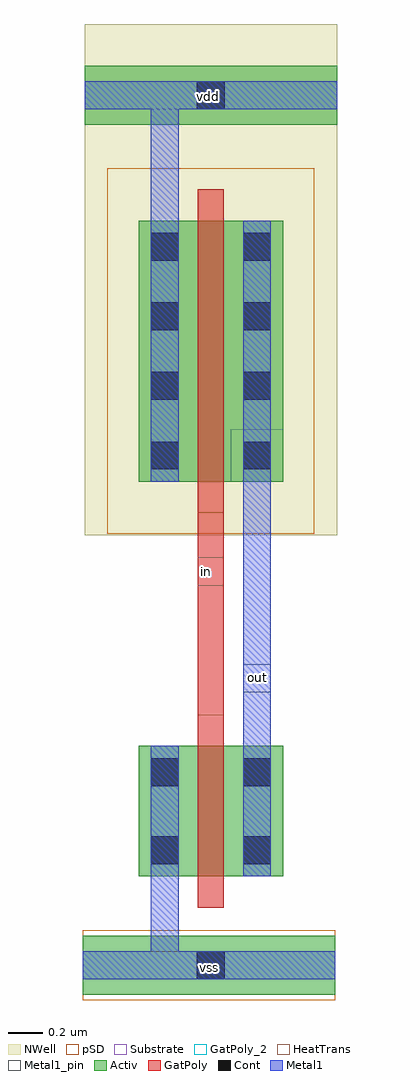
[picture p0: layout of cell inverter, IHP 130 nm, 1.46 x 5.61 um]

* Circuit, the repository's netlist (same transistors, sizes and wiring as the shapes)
* Extracted by KLayout with SG13G2 LVS runset on : 21/03/2026 16:57

.SUBCKT inverter
M$1 \$1 \$4 \$2 \$1 sg13_lv_nmos L=0.15u W=0.75u AS=0.255p AD=0.255p PS=2.18u
+ PD=2.18u
M$2 \$3 \$4 \$2 \$3 sg13_lv_pmos L=0.15u W=1.5u AS=0.51p AD=0.51p PS=3.68u
+ PD=3.68u
.ENDS inverter

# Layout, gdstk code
import gdstk
lib = gdstk.Library(unit=1e-6, precision=5e-09)
def R(c, l, rs):  # rectangles x0, y0, x1, y1
    for r in rs: c.add(gdstk.rectangle(r[:2], r[2:], *l))
def A(c, l, x, y, w, h, nx, ny, dx, dy):  # array of equal rectangles
    R(c, l, [(x+i*dx, y+j*dy, x+i*dx+w, y+j*dy+h) for i in range(nx) for j in range(ny)])
Activ = (1, 0)
GatPoly = (5, 0)
GatPoly_2 = (5, 2)
Cont = (6, 0)
Metal1 = (8, 0)
Metal1_pin = (8, 2)
pSD = (14, 0)
NWell = (31, 0)
Substrate = (40, 0)
HeatTrans = (51, 0)

m1_cont1_pmos = lib.new_cell('M1_Cont1_PMOS')
R(m1_cont1_pmos, Activ, [(-0.72,-0.175,0.73,0.165)])
R(m1_cont1_pmos, Cont, [(-0.075,-0.085,0.085,0.075)])
R(m1_cont1_pmos, Metal1, [(-0.72,-0.085,0.73,0.075)])
R(m1_cont1_pmos, Metal1_pin, [(-0.72,-0.085,0.73,0.075)])
R(m1_cont1_pmos, NWell, [(-0.72,-0.415,0.73,0.405)])

m1_bulkcont1_pmos = lib.new_cell('M1_BulkCont1_PMOS')
r = gdstk.Reference(m1_cont1_pmos, (-0.015,-0.015)); r.repetition = gdstk.Repetition(1, 1, v1=(0,0), v2=(0,0)); m1_bulkcont1_pmos.add(r)

m1_cont1_nmos = lib.new_cell('M1_Cont1_NMOS')
R(m1_cont1_nmos, Activ, [(-0.725,-0.175,0.725,0.165)])
R(m1_cont1_nmos, Cont, [(-0.07,-0.085,0.09,0.075)])
R(m1_cont1_nmos, Metal1, [(-0.725,-0.085,0.725,0.075)])
R(m1_cont1_nmos, Metal1_pin, [(-0.725,-0.085,0.725,0.075)])
R(m1_cont1_nmos, pSD, [(-0.725,-0.205,0.725,0.195)])

m1_bulkcont1_nmos = lib.new_cell('M1_BulkCont1_NMOS')
r = gdstk.Reference(m1_cont1_nmos, (0.005,0.01)); r.repetition = gdstk.Repetition(1, 1, v1=(0,0), v2=(0,0)); m1_bulkcont1_nmos.add(r)

nmos = lib.new_cell('nmos')
R(nmos, Activ, [(0,0,0.3,0.3), (0,0,0.83,0.75), (0.53,0,0.83,0.3)])
R(nmos, GatPoly, [(0.34,-0.18,0.49,0.93)])
R(nmos, GatPoly_2, [(0.34,-0.18,0.49,0.93)])
R(nmos, Cont, [(0.07,0.07,0.23,0.23), (0.6,0.07,0.76,0.23), (0.07,0.52,0.23,0.68), (0.6,0.52,0.76,0.68)])
R(nmos, Metal1, [(0.07,0,0.23,0.75), (0.6,0,0.76,0.75)])
R(nmos, Metal1_pin, [(0.07,0,0.23,0.75), (0.6,0,0.76,0.75)])
R(nmos, HeatTrans, [(0.34,-0.18,0.49,0.93)])
nmos.add(gdstk.Label('nmos', (0.415,0.375), layer=63, texttype=0))
nmos.add(gdstk.Label('nmos', (0.415,0.375), layer=51, texttype=0))

pmos_1 = lib.new_cell('pmos$1')
R(pmos_1, Activ, [(0,0,0.3,0.3), (0,0,0.83,1.5), (0.53,0,0.83,0.3)])
R(pmos_1, GatPoly, [(0.34,-0.18,0.49,1.68), (0.34,-0.18,0.49,1.68)])
A(pmos_1, Cont, 0.07, 0.07, 0.16, 0.16, 1, 4, 0, 0.4)
A(pmos_1, Cont, 0.6, 0.07, 0.16, 0.16, 1, 4, 0, 0.4)
R(pmos_1, Metal1, [(0.07,0,0.23,1.5), (0.07,0,0.23,1.5), (0.6,0,0.76,1.5), (0.6,0,0.76,1.5)])
R(pmos_1, pSD, [(-0.18,-0.3,1.01,1.8)])
R(pmos_1, NWell, [(-0.31,-0.31,1.14,1.81)])
R(pmos_1, Substrate, [(0.53,0,0.83,0.3)])
R(pmos_1, HeatTrans, [(0.34,-0.18,0.49,1.68)])
pmos_1.add(gdstk.Label('pmos', (0.415,0.75), layer=63, texttype=0))
pmos_1.add(gdstk.Label('pmos', (0.415,0.75), layer=51, texttype=0))

inverter = lib.new_cell('inverter')
R(inverter, GatPoly, [(-0.075,-1.72,0.075,0.805)])
R(inverter, GatPoly_2, [(-0.075,-0.425,0.075,-0.26)])
R(inverter, Cont, [(-0.08,-2.685,0.08,-2.525), (-0.08,2.315,0.08,2.475)])
R(inverter, Metal1, [(-0.345,-2.685,-0.185,-1.72), (0.185,-1.72,0.345,0.805), (-0.345,1.37,-0.185,2.475)])
R(inverter, Metal1_pin, [(-0.08,-2.685,0.08,-2.525), (0.185,-1.035,0.345,-0.875), (-0.08,2.315,0.08,2.475)])
inverter.add(gdstk.Reference(m1_bulkcont1_pmos, (0.01,2.415)))
inverter.add(gdstk.Reference(m1_bulkcont1_nmos, (-0.015,-2.61)))
inverter.add(gdstk.Reference(nmos, (-0.415,-2.095)))
inverter.add(gdstk.Reference(pmos_1, (-0.415,0.175)))
inverter.add(gdstk.Label('vdd', (-0.015,2.39), layer=8, texttype=2))
inverter.add(gdstk.Label('vss', (-0.01,-2.62), layer=8, texttype=2))
inverter.add(gdstk.Label('out', (0.27,-0.95), layer=8, texttype=2))
inverter.add(gdstk.Label('in', (-0.025,-0.34), layer=5, texttype=2))

lib.write_gds('inverter.gds')
